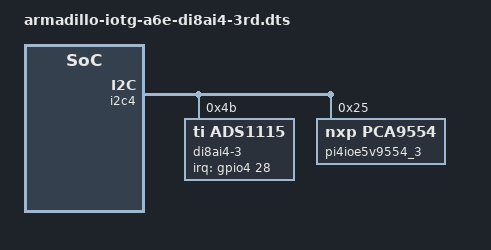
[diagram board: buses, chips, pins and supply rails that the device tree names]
// SPDX-License-Identifier: (GPL-2.0 OR MIT)
/*
 * Copyright (C) 2023 Atmark Techno, Inc. All Rights Reserved.
 */

/dts-v1/;
/plugin/;

#include "imx6ull-pinfunc.h"
#include <dt-bindings/interrupt-controller/irq.h>

&{/} {
	aliases {
		/* Aliases are represented by a string to a full node path.
		 * For overlays, specifying &adc4 will incorrectly result in a path
		 * within a fragment, which is not fixed at apply time.
		 * Specify the full path of the merged node directly.
		 */
		iio3 = "/soc/bus@2100000/i2c@21f8000/adc@4B";
	};
};

&i2c4 {
	#address-cells = <1>;
	#size-cells = <0>;

	adc4: adc@4B {
		compatible = "ti,ads1115";
		reg = <0x4B>;
		label = "di8ai4-3";

		#address-cells = <1>;
		#size-cells = <0>;

		#io-channel-cells = <1>;

		interrupt-parent = <&gpio4>;
		interrupts = <28 IRQ_TYPE_LEVEL_LOW>;

		channel@4 {
			reg = <4>;
			ti,gain = <0>;
			ti,datarate = <4>;
		};

		channel@5 {
			reg = <5>;
			ti,gain = <0>;
			ti,datarate = <4>;
		};

		channel@6 {
			reg = <6>;
			ti,gain = <0>;
			ti,datarate = <4>;
		};

		channel@7 {
			reg = <7>;
			ti,gain = <0>;
			ti,datarate = <4>;
		};
	};

	pi4ioe5v9554_3: gpio@25 {
		compatible = "nxp,pca9554";
		reg = <0x25>;

		gpio-controller;
		#gpio-cells = <2>;
	};
};

&pi4ioe5v9554_3 {
	gpio-line-names =
		/* PI4IOE5V9554_3_00 - 03 */ "DI19", "DI20", "DI21", "DI22",
		/* PI4IOE5V9554_3_04 - 07 */ "DI23", "DI24", "DI25", "DI26";
};
